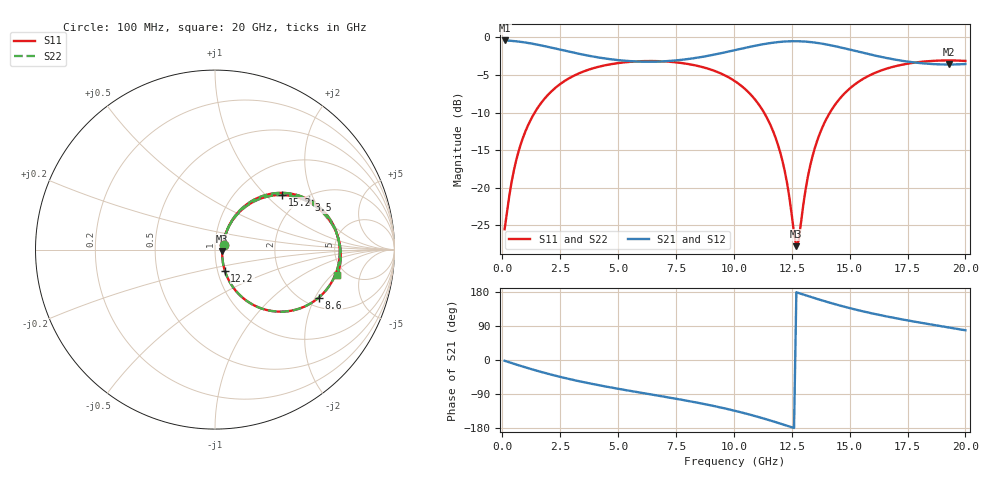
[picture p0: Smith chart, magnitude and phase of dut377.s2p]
! Touchstone file exported from HFSS 2026.1.0
!  File:  C:/ffzhzh/LocalFiles/Ansys_Project_Files/temp_train_TSV_RDL_377_1783042149_53980.aedt
!  Generated:  09:47:45 AM Jul  3, 2026
!  Design:  TSV_RDL
!  Project:  temp_train_TSV_RDL_377_1783042149_53980
! Variables:
!  h_bsmrdl = 2.26um
!  h_ox = 20um
!  h_rdl = 5um
!  h_sub = 98.37um
!  h_tmrdl = 3.16um
!  h_tsv = 98.37um
!  h_via = 3um
!  l_bsmrdl = 989.59um
!  l_sub = 4647.43um
!  l_tmrdl = 292.83um
!  m_sub = 200um
!  pitch = 56.47um
!  r_tsv = 3.86um
!  s_tmrdl = 10um
!  w_bsmrdl = 12.11um
!  w_sub = 500um
!  w_tmrdl = 23.67um
!  x_tsv_center1 = 304.665um
!  x_tsv_center2 = 1306.365um
!  x_tsv_center3 = 1622.865um
!  x_tsv_center4 = 2624.565um
!  x_tsv_center5 = 2941.065um
!  x_tsv_center6 = 3942.765um
# GHz S MA R 50.000000
! Terminal data exported
! Port[1] = TM_RDL1_1_T1
! Port[2] = TM_RDL5_1_T1
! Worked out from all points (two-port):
!   200 points, 100 MHz to 20 GHz, reference 50 ohm
!   highest |S21| = -0.42 dB at 100 MHz (marker M1); lowest = -3.6 dB at 19.3 GHz (marker M2)
!   |S21| within 3 dB of the highest: start of sweep to 18.03 GHz
!   lowest |S11| = -27.7 dB at 12.7 GHz (marker M3), VSWR 1.09, Z = 54.2 - j0.779 ohm
!   |S11| at or under -10 dB: start of sweep to 1.4 GHz; 11.3 GHz to 14.15 GHz (2.848 GHz wide, 22.4 % of centre)
!   |S22| runs from -27.7 to -3.1 dB; largest |S21 - S12| = 1.6e-14
!   S11 on the Smith chart (normalised r, x): 100 MHz: 1.10, +0.05; 3.5 GHz: 2.14, +1.82; 8.6 GHz: 2.38, -2.14; 12.2 GHz: 1.08, -0.26; 15.2 GHz: 1.59, +1.26; 20 GHz: 4.21, -2.36
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0.1  0.05311 25.9  0.9528 -2.0  0.9528 -2.0  0.05311 25.9
! Gamma 0 0 0 0
! Port Impedance 50 0 50 0
0.4  0.109 55.7  0.947 -8.0  0.947 -8.0  0.109 55.7
0.6  0.1523 59.4  0.9406 -11.9  0.9406 -11.9  0.1523 59.4
1.2  0.2778 56.7  0.9124 -23.1  0.9124 -23.1  0.2778 56.7
2.2  0.4486 44.1  0.8483 -40.0  0.8483 -40.0  0.4486 44.1
3.5  0.592 27.9  0.7665 -58.4  0.7665 -58.4  0.592 27.9
5.1  0.677 10.6  0.7029 -77.0  0.7029 -77.0  0.677 10.6
6.8  0.6938 -6.2  0.6906 -94.8  0.6906 -94.8  0.6938 -6.2
8.6  0.6367 -24.9  0.7398 -114.7  0.7398 -114.7  0.6367 -24.9
10.1  0.5047 -43.2  0.825 -134.8  0.825 -134.8  0.5047 -43.2
11.4  0.2975 -60.9  0.9068 -156.4  0.9068 -156.4  0.2975 -60.9
11.9  0.1943 -65.7  0.9291 -165.7  0.9291 -165.7  0.1943 -65.7
12.2  0.1289 -65.0  0.9376 -171.5  0.9376 -171.5  0.1289 -65.0
12.7  0.04099 -10.1  0.9419 178.6  0.9419 178.6  0.04108 -10.0
12.8  0.0447 19.7  0.9413 176.7  0.9413 176.7  0.0448 19.7
13.1  0.09786 54.9  0.9361 170.8  0.9361 170.8  0.09792 54.9
13.4  0.1628 59.4  0.9265 165.0  0.9265 165.0  0.1628 59.3
14.1  0.3068 53.7  0.8904 152.0  0.8904 152.0  0.3069 53.6
15.2  0.4834 39.0  0.815 133.9  0.815 133.9  0.4834 39.0
16.7  0.626 20.8  0.7232 113.7  0.7232 113.7  0.626 20.8
19.3  0.7021 -5.3  0.6597 85.6  0.6597 85.6  0.7021 -5.3
20  0.6965 -11.9  0.6647 78.4  0.6647 78.4  0.6966 -11.9
